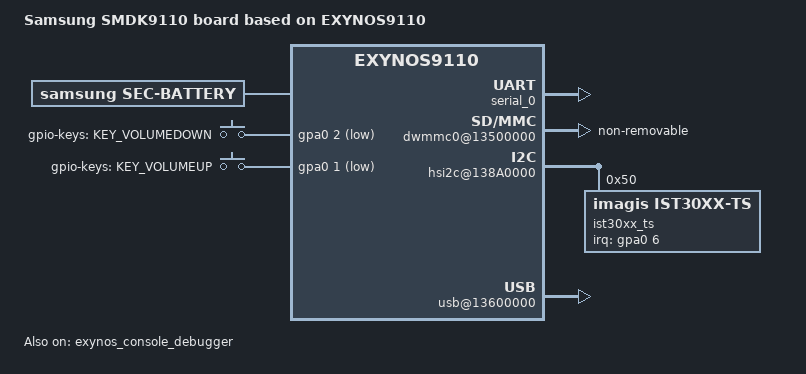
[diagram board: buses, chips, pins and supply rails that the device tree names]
/*
 * SAMSUNG EXYNOS9110 board device tree source
 *
 * Copyright (c) 2017 Samsung Electronics Co., Ltd.
 *		http://www.samsung.com
 *
 * This program is free software; you can redistribute it and/or modify
 * it under the terms of the GNU General Public License version 2 as
 * published by the Free Software Foundation.
 */

/dts-v1/;
#include "exynos9110.dtsi"
#include "exynos9110-display-lcd.dtsi"
#include "exynos9110-rmem.dtsi"
#include "modem-ss360ap-sipc-pdata.dtsi"

/ {
	model = "Samsung SMDK9110 board based on EXYNOS9110";
	compatible = "samsung,exynos9110", "samsung,SMDK9110";

	memory@80000000 {
		device_type = "memory";
		reg = <0x0 0x80000000 0x30000000>;
	};

	ect {
		parameter_address = <0x90000000>;
		parameter_size = <0x32000>;
	};

	chosen {
		bootargs = "console=ttySAC0,115200n8 root=/dev/ram0 androidboot.hardware=samsungexynos9110 androidboot.selinux=permissive androidboot.debug_level=0x4948 firmware_class.path=/vendor/firmware bcm_setup=0xffffff80f8e00000 ecd_setup=disable";
		linux,initrd-start = <0x84000000>;
		linux,initrd-end = <0x841FFFFF>;
	};

	fixed-rate-clocks {
		oscclk {
			compatible = "samsung,exynos9110-oscclk";
			clock-frequency = <26000000>;
		};
	};

	firmware {
		android {
			compatible = "android,firmware";
			fstab {
				compatible = "android,fstab";
				system {
					compatible = "android,system";
					dev = "/dev/block/platform/13500000.dwmmc0/by-name/system";
					type = "ext4";
					mnt_flags = "ro";
					fsmgr_flags = "wait";
				};
				vendor {
					compatible = "android,vendor";
					dev = "/dev/block/platform/13500000.dwmmc0/by-name/vendor";
					type = "ext4";
					mnt_flags = "ro";
					fsmgr_flags = "wait";
				};
			};
		};
	};

	serial_0: uart@13820000 {
		status = "okay";
	};

	/* UART SWITCH FOR CP */
	uart_sel {
		compatible = "samsung,exynos-uart-sel";

		int_ap2cp_uart_noti = <15>;
		mbx_ap2cp_united_status = <2>;
		sbi_uart_noti_mask = <0x1>;
		sbi_uart_noti_pos = <16>;
		use_usb_phy = <0>;
	};

	pinctrl@11850000 {
		dwmmc2_cd_ext_irq: dwmmc2_cd_ext_irq {
			samsung,pins = "gpa0-3";
			samsung,pin-function = <0xf>;
		};

		pmic_irq: pmic-irq {
			samsung,pins = "gpa0-0";
			samsung,pin-pud = <3>;
			samsung,pin-drv = <3>;
		};

		fuel_irq: fuel-irq {
			samsung,pins = "gpa0-5";
			samsung,pin-function = <0>;
			samsung,pin-pud = <2>;
			samsung,pin-drv = <2>;
		};
	};

	dwmmc0@13500000 {
		status = "okay";
		num-slots = <1>;
		broken-cd;
		fixed_voltage;
		supports-highspeed;
		mmc-ddr-1_8v;
		mmc-hs200-1_8v;
		mmc-hs400-1_8v;
		supports-8bit;
		supports-cmd23;
		supports-erase;
		supports-hs400-enhanced-strobe;
		card-init-hwacg-ctrl;
		fifo-depth = <0x40>;
		non-removable;
		desc-size = <4>;
		card-detect-delay = <200>;
		data-timeout = <200>;
		hto-timeout = <80>;
		samsung,dw-mshc-ciu-div = <3>;
		samsung,dw-mshc-txdt-crc-timer-fastlimit = <0x13>;
		samsung,dw-mshc-txdt-crc-timer-initval = <0x15>;
		samsung,dw-mshc-hs400-delay-line = <0x60>;
		samsung,dw-mshc-sdr-timing = <3 0 4 0>;
		samsung,dw-mshc-ddr-timing = <3 0 4 2>;
		samsung,dw-mshc-hs200-timing = <3 0 3 0>;
		samsung,dw-mshc-hs400-timing = <1 0 4 0>;
		samsung,dw-mshc-hs400-ulp-timing = <3 0 4 0>;

		num-ref-clks = <12>;
		ciu_clkin = <25 50 50 25 50 100 200 50 50 200 200 200>;

		clk-drive-number = <4>;
		pinctrl-names = "default",
			"fast-slew-rate-1x",
			"fast-slew-rate-2x",
			"fast-slew-rate-3x",
			"fast-slew-rate-4x";
		pinctrl-0 = <&sd0_clk &sd0_cmd &sd0_rdqs &sd0_bus1 &sd0_bus4 &sd0_bus8>;
		pinctrl-1 = <&sd0_clk_fast_slew_rate_1x>;
		pinctrl-2 = <&sd0_clk_fast_slew_rate_2x>;
		pinctrl-3 = <&sd0_clk_fast_slew_rate_3x>;
		pinctrl-4 = <&sd0_clk_fast_slew_rate_4x>;
		slot@0 {
			reg = <0>;
			bus-width = <8>;
		};

	};

	dwmmc2@13550000 {
		status = "disabled";
		num-slots = <1>;
		supports-4bit;
		supports-cmd23;
		supports-erase;
		sd-uhs-sdr50;
		sd-uhs-sdr104;
		card-detect-gpio;
		bypass-for-allpass;
		use-fine-tuning;
		card-init-hwacg-ctrl;
		only_once_tune;
		skip-init-mmc-scan;
		ignore-phase = <(1 << 7)>;
		fifo-depth = <0x40>;
		desc-size = <4>;
		card-detect-delay = <200>;
		data-timeout = <200>;
		hto-timeout = <80>;
		samsung,dw-mshc-ciu-div = <3>;
		clock-frequency = <800000000>;
		samsung,dw-mshc-sdr-timing = <3 0 2 0>;
		samsung,dw-mshc-ddr-timing = <3 0 2 1>;
		samsung,dw-mshc-sdr50-timing = <3 0 4 2>;
		samsung,dw-mshc-sdr104-timing = <3 0 3 0>;

		num-ref-clks = <9>;
		ciu_clkin = <25 50 50 25 50 100 200 50 50>;

		clk-drive-number = <4>;
		pinctrl-names = "default",
			"fast-slew-rate-1x",
			"fast-slew-rate-2x",
			"fast-slew-rate-3x",
			"fast-slew-rate-4x";
		pinctrl-0 = <&sd2_clk &sd2_cmd &sd2_bus1 &sd2_bus4 &dwmmc2_cd_ext_irq>;
		pinctrl-1 = <&sd2_clk_fast_slew_rate_1x>;
		pinctrl-2 = <&sd2_clk_fast_slew_rate_2x>;
		pinctrl-3 = <&sd2_clk_fast_slew_rate_3x>;
		pinctrl-4 = <&sd2_clk_fast_slew_rate_4x>;

		card-detect = <&gpa0 3 0xf>;
		slot@0 {
			reg = <0>;
			bus-width = <4>;
			disable-wp;
		};
	};

	dsim_0: dsim@0x148E0000 {
		lcd_info = <&s6e3aa2>;
		/* reset */
		gpios = <&gpg3 0 1>;
		regulator_1p8v = "vdd_ldo21";
		regulator_3p3v = "vdd_ldo20";
	};

	/* USI_01_CMGP */
	usi_01_cmgp: usi@11C22010 {
		usi_v2_mode = "i2c";
		status = "okay";
	};

	/* USI_02_CMGP */
	usi_02_cmgp: usi@11C22020 {
		usi_v2_mode = "spi";
		status = "okay";
	};

	/* USI_00 */
	usi_00: usi@10021040 {
		usi_v2_mode = "spi";
		status = "okay";
	};

	exynos_rgt {
		compatible = "samsung,exynos-rgt";
	};

	mailbox_cp: mcu_ipc@11920000 {
		compatible = "samsung,exynos-shd-ipc-mailbox";
		reg = <0x0 0x11920000 0x180>;
		mcu,name = "mcu_ipc_cp";
		mcu,id = <0>;
		interrupts = <0 107 0 >;
	};

	pinctrl@139B0000 {
		/* Warm reset information from AP */
		pm_wrsti: pm-wrsti {
			samsung,pins = "gpg7-1";
			samsung,pin-con-pdn = <3>;
		};
	};

	speedy@11A20000{
		status = "okay";
		audio_codec_cod9005x: cod9005x@03 {
			compatible = "codec,cod9005x";
			reg = <0x03>;
			i2c-speedy-address;
			vdd-supply = <&ldo27_reg>;
			pinctrl-names = "default";
			mic-bias-ldo-voltage = <3>;
		};
		s2mpw02mfd@00 {
			compatible = "samsung,s2mpw02mfd";
			acpm-ipc-channel = <2>;
			i2c-speedy-address;
			s2mpw02,wakeup = "enabled";
			s2mpw02,irq-gpio = <&gpa0 0 0>;
			reg = <0x00>;
			interrupts = <0 0 0>;
			interrupt-parent = <&gpa0>;
			pinctrl-names = "default";
			pinctrl-0 = <&pmic_irq &pm_wrsti>;
			/* RTC: wtsr/smpl */
			wtsr_en = "enabled"; /* enable */
			smpl_en = "enabled"; /* enable */
			wtsr_timer_val = <3>;	/* 1000ms */
			smpl_timer_val = <4>;	/* 500ms */
			check_jigon = <0>; /* do not check jigon */
			/* RTC: If it's first boot, reset rtc to 1/1/2018 12:00:00(Wed) */
			init_time,sec = <0>;
			init_time,min = <0>;
			init_time,hour = <12>;
			init_time,mday = <1>;
			init_time,mon = <0>;
			init_time,year = <118>;
			init_time,wday = <1>;

			s2mpw02-keys {
				button@1 {
					label = "pmic-keys: KEY_POWER";
					linux,code = <116>;
					wakeup = <1>;
				};
			};

			regulators {
				buck1_reg: BUCK1 {
					regulator-name = "vdd_soc";
					regulator-min-microvolt = <500000>;
					regulator-max-microvolt = <1200000>;
					regulator-always-on;
					regulator-boot-on;
					regulator-ramp-delay = <12000>;
					regulator-initial-mode = <1>;
				};
				buck2_reg: BUCK2 {
					regulator-name = "vdd_lldo";
					regulator-min-microvolt = <800000>;
					regulator-max-microvolt = <1500000>;
					regulator-always-on;
					regulator-boot-on;
					regulator-ramp-delay = <12000>;
					regulator-initial-mode = <3>;
				};

				buck3_reg: BUCK3 {
					regulator-name = "vdd_mldo";
					regulator-min-microvolt = <1800000>;
					regulator-max-microvolt = <2100000>;
					regulator-always-on;
					regulator-boot-on;
					regulator-ramp-delay = <12000>;
					regulator-initial-mode = <3>;
				};

				bst1_reg: BST1 {
					regulator-name = "vdd_hrm";
					regulator-min-microvolt = <4900000>;
					regulator-max-microvolt = <5100000>;
				};

				bst2_reg: BST2 {
					regulator-name = "vdd_codec";
					regulator-min-microvolt = <4900000>;
					regulator-max-microvolt = <5100000>;
				};

				ldo1_reg: LDO1 {
					regulator-name = "vdd_ldo1";
					regulator-min-microvolt = <700000>;
					regulator-max-microvolt = <1300000>;
					regulator-always-on;
					regulator-boot-on;
					regulator-ramp-delay = <12000>;
					regulator-initial-mode = <3>;
				};

				ldo2_reg: LDO2 {
					regulator-name = "vdd_ldo2";
					regulator-min-microvolt = <700000>;
					regulator-max-microvolt = <1950000>;
					regulator-always-on;
					regulator-boot-on;
					regulator-ramp-delay = <12000>;
					regulator-initial-mode = <1>;
				};

				ldo3_reg: LDO3 {
					regulator-name = "vdd_ldo3";
					regulator-min-microvolt = <700000>;
					regulator-max-microvolt = <1300000>;
					regulator-always-on;
					regulator-boot-on;
					regulator-ramp-delay = <12000>;
					regulator-initial-mode = <3>;
				};

				ldo4_reg: LDO4 {
					regulator-name = "vdd_ldo4";
					regulator-min-microvolt = <700000>;
					regulator-max-microvolt = <1950000>;
					regulator-always-on;
					regulator-boot-on;
					regulator-ramp-delay = <12000>;
					regulator-initial-mode = <1>;
				};

				ldo5_reg: LDO5 {
					regulator-name = "vdd_ldo5";
					regulator-min-microvolt = <700000>;
					regulator-max-microvolt = <1300000>;
					regulator-always-on;
					regulator-boot-on;
					regulator-ramp-delay = <12000>;
					regulator-initial-mode = <3>;
				};

				ldo6_reg: LDO6 {
					regulator-name = "vdd_ldo6";
					regulator-min-microvolt = <500000>;
					regulator-max-microvolt = <1300000>;
					regulator-always-on;
					regulator-boot-on;
					regulator-ramp-delay = <12000>;
					regulator-initial-mode = <1>;
				};

				ldo7_reg: LDO7 {
					regulator-name = "vdd_ldo7";
					regulator-min-microvolt = <700000>;
					regulator-max-microvolt = <1300000>;
					regulator-always-on;
					regulator-boot-on;
					regulator-ramp-delay = <12000>;
					regulator-initial-mode = <1>;
				};

				ldo8_reg: LDO8 {
					regulator-name = "vdd_ldo8";
					regulator-min-microvolt = <500000>;
					regulator-max-microvolt = <1300000>;
					regulator-always-on;
					regulator-boot-on;
					regulator-ramp-delay = <12000>;
					regulator-initial-mode = <1>;
				};

				ldo9_reg: LDO9 {
					regulator-name = "vdd_ldo9";
					regulator-min-microvolt = <700000>;
					regulator-max-microvolt = <1300000>;
					regulator-always-on;
					regulator-boot-on;
					regulator-ramp-delay = <12000>;
					regulator-initial-mode = <1>;
				};

				ldo10_reg: LDO10 {
					regulator-name = "vdd_ldo10";
					regulator-min-microvolt = <1800000>;
					regulator-max-microvolt = <3375000>;
					regulator-always-on;
					regulator-boot-on;
					regulator-ramp-delay = <12000>;
					regulator-initial-mode = <1>;
				};

				// if initial-mode 0 LDO18, LDO19 controlled by EXT_CTRL1 & 0x1FF
				ldo18_reg: LDO18 {
					regulator-name = "vdd_ldo18";
					regulator-min-microvolt = <800000>;
					regulator-max-microvolt = <1950000>;
					regulator-ramp-delay = <12000>;
					regulator-always-on;
					regulator-boot-on;
					regulator-initial-mode = <3>;
				};

				ldo19_reg: LDO19 {
					regulator-name = "vdd_ldo19";
					regulator-min-microvolt = <1800000>;
					regulator-max-microvolt = <3375000>;
					regulator-ramp-delay = <12000>;
					regulator-always-on;
					regulator-boot-on;
					regulator-initial-mode = <3>;
				};

				/* if initial-mode 0 LDO20, LDO21 controlled by LCD_EN */
				ldo20_reg: LDO20 {
					regulator-name = "vdd_ldo20";
					regulator-min-microvolt = <1800000>;
					regulator-max-microvolt = <3375000>;
					regulator-ramp-delay = <12000>;
					regulator-initial-mode = <3>;
				};

				ldo21_reg: LDO21 {
					regulator-name = "vdd_ldo21";
					regulator-min-microvolt = <700000>;
					regulator-max-microvolt = <1950000>;
					/* regulator-always-on; */
					regulator-ramp-delay = <12000>;
					regulator-initial-mode = <3>;
				};

				ldo22_reg: LDO22 {
					regulator-name = "vdd_ldo22";
					regulator-min-microvolt = <1800000>;
					regulator-max-microvolt = <3375000>;
					regulator-ramp-delay = <12000>;
				};
/*
				// if initial-mode 0 LDO23, LDO24 controlled by HRM_EN
				ldo23_reg: LDO23 {
					regulator-name = "vdd_ldo23";
					regulator-min-microvolt = <1800000>;
					regulator-max-microvolt = <3375000>;
					regulator-always-on;
					regulator-ramp-delay = <12000>;
					regulator-initial-mode = <1>;
				};

				ldo24_reg: LDO24 {
					regulator-name = "vdd_ldo24";
					regulator-min-microvolt = <700000>;
					regulator-max-microvolt = <1950000>;
					regulator-always-on;
					regulator-ramp-delay = <12000>;
					regulator-initial-mode = <1>;
				};
*/
				ldo25_reg: LDO25 {
					regulator-name = "vdd_ldo25";
					regulator-min-microvolt = <1800000>;
					regulator-max-microvolt = <3375000>;
					regulator-boot-on;
					regulator-always-on;
					regulator-ramp-delay = <12000>;
					regulator-initial-mode = <3>;
				};

				ldo27_reg: LDO27 {
					regulator-name = "vdd_ldo27";
					regulator-min-microvolt = <700000>;
					regulator-max-microvolt = <1950000>;
					regulator-ramp-delay = <12000>;
				};
/*
				ldo31_reg: LDO31 {
					regulator-name = "vdd_ldo31";
					regulator-min-microvolt = <500000>;
					regulator-max-microvolt = <1300000>;
					regulator-always-on;
					regulator-ramp-delay = <12000>;
					regulator-initial-mode = <1>;
				};
*/			};
		};
	};

	pinctrl@11850000 {
		attn_irq: attn-irq {
			samsung,pins = "gpa0-6";
			samsung,pin-function = <0xf>;
			samsung,pin-pud = <3>;
			samsung,pin-drv = <3>;
		};
		attn_input: attn-input {
			samsung,pins = "gpa0-6";
			samsung,pin-function = <0>;
			samsung,pin-pud = <1>;
			samsung,pin-drv = <0>;
		};
	};

	pinctrl@139B0000 {
		vdd_on: vdd-on {
			samsung,pins = "gpg3-1";
			samsung,pin-function = <1>;
			samsung,pin-val = <1>;
			samsung,pin-pud = <0>;
		};

		vdd_off: vdd-off {
			samsung,pins = "gpg3-1";
			samsung,pin-function = <0>;
			samsung,pin-val = <0>;
			samsung,pin-pud = <1>;
		};
	};

	hsi2c@138A0000 {
		status = "okay";
		#address-cells = <1>;
		#size-cells = <0>;

		ist30xx_ts@50 {
			compatible = "imagis,ist30xx-ts";
			reg = <0x50>;
			pinctrl-names = "active_state", "suspend_state";
			pinctrl-0 = <&attn_irq &vdd_on>;
			pinctrl-1 = <&attn_input &vdd_off>;

			vdd_ldo_name = "vdd_ldo21";
			imagis,irq-gpio = <&gpa0 6 0>;
			imagis,ic-version = "ist3038c";
			imagis,project-name = "Morian";
		};
	};

	usb@13600000 {
		status = "okay";
		dwc3 {
			dr_mode = "otg";
			maximum-speed = "high-speed";
		};
	};

	phy@135D0000 {
		status = "okay";

		hs_tune_param = <&usb_hs_tune>;
	};

	usb_hs_tune:hs_tune {
		hs_tune_cnt = <12>;

		/* value = <device host> */
		hs_tune1 {
			tune_name = "tx_vref";
			tune_value = <0xf 0xf>;
		};

		hs_tune2 {
			tune_name = "tx_pre_emp";
			tune_value = <0x3 0x3>;
		};

		hs_tune3 {
			tune_name = "tx_pre_emp_plus";
			tune_value = <0x0 0x0>;
		};

		hs_tune4 {
			tune_name = "tx_res";
			tune_value = <0x3 0x3>;
		};

		hs_tune5 {
			tune_name = "tx_rise";
			tune_value = <0x3 0x3>;
		};

		hs_tune6 {
			tune_name = "tx_hsxv";
			tune_value = <0x3 0x3>;
		};

		hs_tune7 {
			tune_name = "tx_fsls";
			tune_value = <0x3 0x3>;
		};

		hs_tune8 {
			tune_name = "rx_sqrx";
			tune_value = <0x7 0x7>;
		};

		hs_tune9 {
			tune_name = "compdis";
			tune_value = <0x7 0x7>;
		};

		hs_tune10 {
			tune_name = "otg";
			tune_value = <0x2 0x2>;
		};

		hs_tune11 {
		/* true : 1, false: 0 */
		/* <enable_user_imp user_imp_value> */
			tune_name = "enable_user_imp";
			tune_value = <0x0 0x0>;
		};

		hs_tune12 {
		/* PHY clk : 1 , FREE clk : 0 */
			tune_name = "is_phyclock";
			tune_value = <0x1 0x1>;
		};
	};

	usb_notifier {
		compatible = "samsung,usb-notifier";
		udc = <&udc>;
	};


	s2mpw02-charger {
		battery,charger_name = "s2mpw02-charger";
		battery,chg_float_voltage = <4390>;
	};

	s2mpw02-fuelgauge {
		fuelgauge,fuel_int = <&gpa0 5 0>;
		fuelgauge,fuel_alert_soc = <1>;
		fuelgauge,capacity_max = <1000>;
		fuelgauge,capacity_max_margin = <70>;
		fuelgauge,capacity_min = <0>;
		fuelgauge,capacity_calculation_type = <28>;
		fuelgauge,type_str = "SDI";
		fuelgauge,model_type = <1>;
	};

	battery {
		status = "okay";
		compatible = "samsung,sec-battery";

		pinctrl-names = "default";

		battery,charger_name = "s2mpw02-charger";
		battery,fuelgauge_name = "s2mpw02-fuelgauge";
		//battery,wireless_charger_name = "mfc-charger";
		battery,vendor = "SDI SDI";
		battery,chip_vendor = "LSI";
		battery,technology = <2>;
		//battery,fgsrc_switch_name = "max77865-charger"; /* Fuelgauge voltage source */

		battery,polling_time = <10 30 30 30 3600>;
		battery,chg_eoc_dualpath = <1>;

		battery,input_current_limit = 
			<100 0 0 200 200 200 200 200 200 0 200 100 200 200 
			0 200 200 200 200 200 200 200 0 200 200 20 200>;
		battery,fast_charging_current = 
			<100 0 0 200 200 200 200 200 200 0 200 75 200 200 
			0 200 200 200 200 200 200 200 0 200 200 20 200>;
		battery,full_check_current_1st = <100 0 0 30 30 30 30 30 30 0 30 30 30 30 0 30 30 30 30 30 30 30 0 30 30 20 30>;
		battery,full_check_current_2nd = <100 0 0 20 20 20 20 20 20 0 20 20 20 20 0 20 20 20 20 20 20 20 0 20 20 20 20>;
		battery,full_check_current = <100 0 0 20 20 20 20 20 20 0 20 20 20 20 0 20 20 20 20 20 20 20 0 20 20 20 20>;

		battery,recharge_condition_vcell = <4250>;

		battery,default_input_current = <150>;
		battery,default_charging_current = <150>;
		battery,default_full_check_current = <20>;

		/* Battery - Charging Scenario */
		/* SEC_BATTERY_FULLCHARGED_CHGPSY */
		battery,full_check_type = <7>;
		/* SEC_BATTERY_FULLCHARGED_CHGPSY */
		battery,full_check_type_2nd = <7>;
		battery,full_check_count = <3>;
		battery,chg_gpio_full_check = <0>;
		battery,chg_polarity_full_check = <1>;
		battery,chg_full_vcell = <4310>;
		battery,chg_recharge_vcell = <4100>;

		battery,temp_check_type = <2>;
		battery,temp_check_count = <1>;

		battery,chg_float_voltage = <4390>;
		battery,temp_highlimit_threshold_normal = <800>;
		battery,temp_highlimit_recovery_normal = <750>;
		battery,temp_high_threshold_normal = <550>;
		battery,temp_high_recovery_normal = <540>;
		battery,temp_low_threshold_normal = <(-50)>;
		battery,temp_low_recovery_normal = <0>;

		battery,temp_high = <500>;
		battery,temp_high_recovery = <450>;
		battery,temp_low = <100>;
		battery,temp_low_recovery = <150>;

		battery,max_rawsoc = <10000>;
	};

/* sec_battery_cable
 *   0	UNKNOWN,
 *   1	NONE,
 *   2	PREPARE_TA,
 *   3	TA,
 *   4	USB,
 *   5	USB_CDP,
 *   6	9V_TA,
 *   7	9V_ERR,
 *   8	9V_UNKNOWN,
 *   9	12V_TA,
 *  10	WIRELESS,
 *  11	HV_WIRELESS,
 *  12	PMA_WIRELESS,
 *  13	WIRELESS_PACK,
 *  14	WIRELESS_PACK_TA,
 *  15	WIRELESS_STAND,
 *  16	WIRELESS_HV_STAND,
 *  17	QC20,
 *  18	QC30,
 *  19	PDIC,
 *  20	UARTOFF,
 *  21	OTG,
 *  22	LAN_HUB,
 *  23	POWER_SHARING,
 *  24	HMT_CONNECTED,
 *  25	HMT_CHARGE,
 *  26	HV_TA_CHG_LIMIT,
 *  27	CABLE_MAX,
*/
	cable-info {
		default_input_current = <2000>;
		default_charging_current = <150>;
		full_check_current_1st = <30>;
		full_check_current_2nd = <15>;

		current_group_1 {
			cable_number = <1 4 19 21 22 23>;
			input_current = <500>;
			charging_current = <150>;
		};

		current_group_2 {
			cable_number = <2 25>;
			input_current = <1000>;
			charging_current = <560>;
		};

		current_group_3 {
			cable_number = <5>;
			input_current = <1500>;
			charging_current = <150>;
		};

		current_group_4 {
			cable_number = <6 7 8>;
			input_current = <1675>;
			charging_current = <150>;
		};

		current_group_5 {
			cable_number = <9>;
			input_current = <2000>;
			charging_current = <150>;
		};

		current_group_6 {
			cable_number = <10 11 12 14 15 16>;
			input_current = <900>;
			charging_current = <150>;
		};

		current_group_7 {
			cable_number = <13>;
			input_current = <700>;
			charging_current = <150>;
		};

		current_group_8 {
			cable_number = <24>;
			input_current = <1000>;
			charging_current = <150>;
		};

		current_group_9 {
			cable_number = <26>;
			input_current = <2000>;
			charging_current = <150>;
		};
	};

	pinctrl@11850000 {
		key_voldown: key-voldown {
			samsung,pins = "gpa0-2";
			samsung,pin-function = <0xf>;
			samsung,pin-pud = <0>;
			samsung,pin-drv = <0>;
		};

		key_volup: key-volup {
			samsung,pins = "gpa0-1";
			samsung,pin-function = <0xf>;
			samsung,pin-pud = <0>;
			samsung,pin-drv = <0>;
		};
	};

	gpio_keys {
		status = "okay";
		compatible = "gpio-keys";
		pinctrl-names = "default";
		pinctrl-0 = <&key_voldown &key_volup>;

		button@1 {
			label = "gpio-keys: KEY_VOLUMEDOWN";
			linux,code = <114>;
			gpios = <&gpa0 2 0xf>;
		};
		button@2 {
			label = "gpio-keys: KEY_VOLUMEUP";
			linux,code = <115>;
			gpios = <&gpa0 1 0xf>;
		};
	};

	dummy_audio_codec: audio_codec_dummy {
		status = "okay";
		compatible = "snd-soc-dummy";
	};

	sound {
		status = "okay";
		compatible = "samsung,exynos9110-sound";

		samsung,routing = "VOUTPUT", "ABOX UAIF0 Playback",
			"ABOX UAIF1 Capture", "VINPUT1",
			"VTS PAD DPDM", "DMIC1",
			"VTS Virtual Output", "VTS Virtual Output Mux",
			"VTS Virtual Output Mux", "DMIC1";
		samsung,codec = <&abox &abox_uaif_0 &abox_uaif_1 &abox_uaif_4 &vts>;
		samsung,prefix = "ABOX", "ABOX", "ABOX", "ABOX", "VTS";
		samsung,aux = <&abox_effect>;

		rdma@0 {
			cpu {
				sound-dai = <&abox 0>;
			};
			codec {
				sound-dai = <&dummy_audio_codec>;
			};
		};
		rdma@1 {
			cpu {
				sound-dai = <&abox 1>;
			};
			codec {
				sound-dai = <&dummy_audio_codec>;
			};
		};
		rdma@2 {
			cpu {
				sound-dai = <&abox 2>;
			};
			codec {
				sound-dai = <&dummy_audio_codec>;
			};
		};
		rdma@3 {
			cpu {
				sound-dai = <&abox 3>;
			};
			codec {
				sound-dai = <&dummy_audio_codec>;
			};
		};
		rdma@4 {
			cpu {
				sound-dai = <&abox 4>;
			};
			codec {
				sound-dai = <&dummy_audio_codec>;
			};
		};
		rdma@5 {
			cpu {
				sound-dai = <&abox 5>;
			};
			codec {
				sound-dai = <&dummy_audio_codec>;
			};
		};
		rdma@6 {
			cpu {
				sound-dai = <&abox 6>;
			};
			codec {
				sound-dai = <&dummy_audio_codec>;
			};
		};
		rdma@7 {
			cpu {
				sound-dai = <&abox 7>;
			};
			codec {
				sound-dai = <&dummy_audio_codec>;
			};
		};
		wdma@0 {
			cpu {
				sound-dai = <&abox 8>;
			};
			codec {
				sound-dai = <&dummy_audio_codec>;
			};
		};
		wdma@1 {
			cpu {
				sound-dai = <&abox 9>;
			};
			codec {
				sound-dai = <&dummy_audio_codec>;
			};
		};
		wdma@2 {
			cpu {
				sound-dai = <&abox 10>;
			};
			codec {
				sound-dai = <&dummy_audio_codec>;
			};
		};
		wdma@3 {
			cpu {
				sound-dai = <&abox 11>;
			};
			codec {
				sound-dai = <&dummy_audio_codec>;
			};
		};
		wdma@4 {
			cpu {
				sound-dai = <&abox 12>;
			};
			codec {
				sound-dai = <&dummy_audio_codec>;
			};
		};
		uaif@0 {
			format = "i2s";
			cpu {
				sound-dai = <&abox_uaif_0>;
			};
			codec {
				sound-dai = <&audio_codec_cod9005x>;
			};
		};
		uaif@1 {
			format = "i2s";
			cpu {
				sound-dai = <&abox_uaif_1>;
			};
			codec {
				sound-dai = <&dummy_audio_codec>;
			};
		};
		uaif@4 {
			format = "i2s";
			bitclock-master;
			frame-master;
			cpu {
				sound-dai = <&abox_uaif_4>;
			};
			codec {
				sound-dai = <&dummy_audio_codec>;
			};
		};
		vts@0 {
			cpu {
				sound-dai = <&vts 0>;
			};
			codec {
				sound-dai = <&dummy_audio_codec>;
			};
		};
		vts@1 {
			cpu {
				sound-dai = <&vts 1>;
			};
			codec {
				sound-dai = <&dummy_audio_codec>;
			};
		};
	};

	exynos_console_debugger {
		compatible = "samsung,exynos_console_debugger";
		reg = <0x0 0x13820000 0x100>;
		interrupts = <0 INTREQ_USI_UART 0>;
		interrupt-names = "uart_irq";
		pinctrl-names = "default";
		pinctrl-0 = <&uart0_bus_single>;
		uart_port = <0>;
		/* <sfr_base_address sfr_size> */
		sfr_reg = <0x10000000 0x8000000>;
		samsung,usi-serial-v2;
		status = "ok";
	};
};
